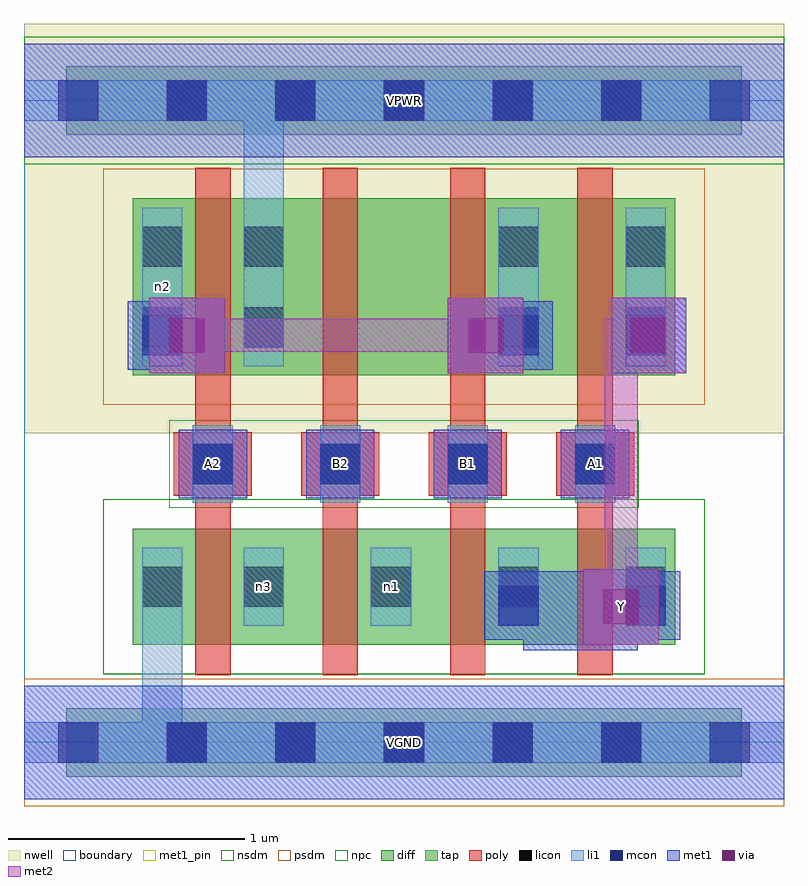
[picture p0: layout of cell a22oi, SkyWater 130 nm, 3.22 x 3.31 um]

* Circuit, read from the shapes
.subckt a22oi A1 A2 B1 B2 VGND VPWR Y n1 n2 n3
XM1 n3 A2 VGND VGND sky130_fd_pr__nfet_01v8 w=0.49 l=0.15
XM2 n1 B2 n3 VGND sky130_fd_pr__nfet_01v8 w=0.49 l=0.15
XM3 Y B1 n1 VGND sky130_fd_pr__nfet_01v8 w=0.49 l=0.15
XM4 Y A1 Y VGND sky130_fd_pr__nfet_01v8 w=0.49 l=0.15
XM5 VPWR A2 n2 VPWR sky130_fd_pr__pfet_01v8 w=0.75 l=0.15
XM6 n4 B2 VPWR VPWR sky130_fd_pr__pfet_01v8 w=0.75 l=0.15
XM7 n2 B1 n4 VPWR sky130_fd_pr__pfet_01v8 w=0.75 l=0.15
XM8 Y A1 n2 VPWR sky130_fd_pr__pfet_01v8 w=0.75 l=0.15
.ends

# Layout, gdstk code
import gdstk
lib = gdstk.Library(unit=1e-6, precision=1e-09)
def R(c, l, rs):  # rectangles x0, y0, x1, y1
    for r in rs: c.add(gdstk.rectangle(r[:2], r[2:], *l))
def A(c, l, x, y, w, h, nx, ny, dx, dy):  # array of equal rectangles
    R(c, l, [(x+i*dx, y+j*dy, x+i*dx+w, y+j*dy+h) for i in range(nx) for j in range(ny)])
nwell = (64, 20)
diff = (65, 20)
tap = (65, 44)
poly = (66, 20)
licon = (66, 44)
li1 = (67, 20)
mcon = (67, 44)
met1_pin = (68, 16)
met1 = (68, 20)
via = (68, 44)
met2 = (69, 20)
nsdm = (93, 44)
psdm = (94, 20)
npc = (95, 20)
boundary = (235, 4)

a22oi = lib.new_cell('a22oi')
R(a22oi, nwell, [(0,1.31,3.22,3.045)])
R(a22oi, diff, [(0.46,0.415,2.76,0.905), (0.46,1.555,2.76,2.305)])
R(a22oi, tap, [(0.18,-0.145,3.04,0.145), (0.18,2.575,3.04,2.865)])
A(a22oi, poly, 0.725, 0.285, 0.15, 2.15, 4, 1, 0.54, 0)
A(a22oi, poly, 0.635, 1.045, 0.33, 0.27, 4, 1, 0.54, 0)
A(a22oi, licon, 0.605, -0.085, 0.17, 0.17, 5, 2, 0.46, 2.72)
A(a22oi, licon, 0.93, 0.575, 0.17, 0.17, 4, 1, 0.54, 0)
A(a22oi, licon, 0.715, 1.095, 0.17, 0.17, 4, 1, 0.54, 0)
R(a22oi, licon, [(0.5,0.575,0.67,0.745), (0.5,1.675,0.67,1.845), (0.93,1.675,1.1,1.845), (2.01,1.675,2.18,1.845), (2.55,1.675,2.72,1.845), (0.5,2.015,0.67,2.185), (0.93,2.015,1.1,2.185), (2.01,2.015,2.18,2.185), (2.55,2.015,2.72,2.185)])
A(a22oi, li1, 0.93, 0.495, 0.17, 0.33, 4, 1, 0.54, 0)
A(a22oi, li1, 0.715, 1.015, 0.17, 0.33, 4, 1, 0.54, 0)
R(a22oi, li1, [(0,-0.085,3.22,0.085), (0.5,-0.085,0.67,0.825), (0.5,0.495,0.67,0.825), (0.5,1.595,0.67,2.265), (0.93,1.595,1.1,2.265), (0.93,1.595,1.1,2.805), (2.01,1.595,2.18,2.265), (2.55,1.595,2.72,2.265), (0,2.635,3.22,2.805)])
A(a22oi, mcon, 0.145, -0.085, 0.17, 0.17, 7, 2, 0.46, 2.72)
A(a22oi, mcon, 0.715, 1.095, 0.17, 0.17, 4, 1, 0.54, 0)
R(a22oi, mcon, [(2.01,0.495,2.18,0.665), (2.55,0.495,2.72,0.665), (0.5,1.64,0.67,1.81), (2.01,1.64,2.18,1.81), (2.55,1.64,2.72,1.81)])
A(a22oi, met1_pin, 0.655, 1.035, 0.29, 0.29, 4, 1, 0.54, 0)
R(a22oi, met1_pin, [(0,-0.24,3.22,0.24), (2.37,0.415,2.69,0.735), (0,2.48,3.22,2.96)])
A(a22oi, met1, 0.655, 1.035, 0.29, 0.29, 4, 1, 0.54, 0)
R(a22oi, met1, [(0,-0.24,3.22,0.24), (2.115,0.39,2.255,0.65), (2.115,0.39,2.6,0.53), (2.46,0.39,2.6,0.65), (2.46,0.39,2.6,0.645), (2.255,0.415,2.37,0.65), (2.37,0.415,2.69,0.735), (1.95,0.435,2.24,0.725), (2.24,0.435,2.37,0.725), (2.49,0.435,2.78,0.725), (2.025,0.51,2.255,0.65), (2.255,0.51,2.37,0.65), (2.46,0.51,2.705,0.65), (0.53,1.565,0.85,1.885), (1.795,1.565,2.115,1.885), (2.485,1.565,2.805,1.885), (0.44,1.58,0.73,1.87), (1.95,1.58,2.24,1.87), (2.49,1.58,2.78,1.87), (0.515,1.655,0.76,1.795), (1.885,1.655,2.165,1.795), (2.565,1.655,2.715,1.795), (0,2.48,3.22,2.96)])
R(a22oi, via, [(2.455,0.5,2.605,0.65), (0.615,1.65,0.765,1.8), (1.88,1.65,2.03,1.8), (2.57,1.65,2.72,1.8)])
R(a22oi, met2, [(2.37,0.415,2.69,0.735), (2.46,0.505,2.6,1.795), (0.53,1.565,0.85,1.885), (1.795,1.565,2.115,1.885), (2.485,1.565,2.805,1.885), (0.62,1.655,2.025,1.795), (2.46,1.655,2.715,1.795)])
R(a22oi, nsdm, [(0.335,0.29,2.885,1.03), (0,2.45,3.22,2.99)])
R(a22oi, psdm, [(0,-0.27,3.22,0.27), (0.335,1.43,2.885,2.43)])
R(a22oi, npc, [(0.615,0.995,2.605,1.365)])
R(a22oi, boundary, [(0,0,3.22,2.72)])
a22oi.add(gdstk.Label('n3', (1.015,0.66), layer=67, texttype=5))
a22oi.add(gdstk.Label('n1', (1.555,0.66), layer=67, texttype=5))
a22oi.add(gdstk.Label('n2', (0.585,1.93), layer=67, texttype=5))
a22oi.add(gdstk.Label('A1', (2.42,1.18), layer=68, texttype=5))
a22oi.add(gdstk.Label('A2', (0.8,1.18), layer=68, texttype=5))
a22oi.add(gdstk.Label('B1', (1.88,1.18), layer=68, texttype=5))
a22oi.add(gdstk.Label('B2', (1.34,1.18), layer=68, texttype=5))
a22oi.add(gdstk.Label('Y', (2.53,0.575), layer=68, texttype=5))
a22oi.add(gdstk.Label('VPWR', (1.61,2.72), layer=68, texttype=5))
a22oi.add(gdstk.Label('VGND', (1.61,0), layer=68, texttype=5))
a22oi.add(gdstk.Label('A1', (2.42,1.18), layer=68, texttype=16))
a22oi.add(gdstk.Label('A2', (0.8,1.18), layer=68, texttype=16))
a22oi.add(gdstk.Label('B1', (1.88,1.18), layer=68, texttype=16))
a22oi.add(gdstk.Label('B2', (1.34,1.18), layer=68, texttype=16))
a22oi.add(gdstk.Label('Y', (2.53,0.575), layer=68, texttype=16))
a22oi.add(gdstk.Label('VPWR', (1.61,2.72), layer=68, texttype=16))
a22oi.add(gdstk.Label('VGND', (1.61,0), layer=68, texttype=16))

lib.write_gds('a22oi.gds')
